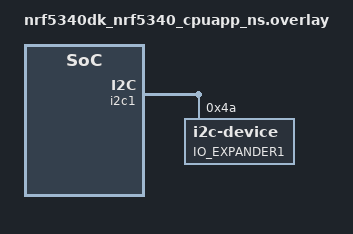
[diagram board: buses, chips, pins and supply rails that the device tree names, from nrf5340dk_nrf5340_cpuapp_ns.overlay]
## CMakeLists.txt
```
# SPDX-License-Identifier: Apache-2.0

cmake_minimum_required(VERSION 3.20.0)

find_package(Zephyr REQUIRED HINTS $ENV{ZEPHYR_BASE})
project(display)

target_sources(app PRIVATE
    src/main.c
    src/lcd1306.c)
```

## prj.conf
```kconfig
CONFIG_GPIO=y

CONFIG_I2C=y




################################################################
#lcd1306 settings
################################################################

CONFIG_HEAP_MEM_POOL_SIZE=16384
CONFIG_DISPLAY=y
################################################################




################################################################
#Logging settings
################################################################

CONFIG_LOG=y
CONFIG_LOG_BACKEND_UART=y

CONFIG_LOG_DEFAULT_LEVEL=3
#LOG_LEVEL_INFO

################################################################
```

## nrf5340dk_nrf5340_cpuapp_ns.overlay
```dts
// To get started, press Ctrl+Space to bring up the completion menu and view the available nodes.

// You can also use the buttons in the sidebar to perform actions on nodes.
// Actions currently available include:

// * Enabling / disabling the node
// * Adding the bus to a bus
// * Removing the node
// * Connecting ADC channels

// For more help, browse the DeviceTree documentation at https://docs.zephyrproject.org/latest/guides/dts/index.html
// You can also visit the nRF DeviceTree extension documentation at https://nrfconnect.github.io/vscode-nrf-connect/devicetree/nrfdevicetree.html


/* Overlay for TWI/IC2 Zephyr NCS implementation with nRFx TWIM Driver */
/* Line references are used in the blog post and twim_node.txt */

&i2c1 {
    io_expander1: io_expander1@4a{
        compatible = "i2c-device";
        reg = < 0x4a >;
        label = "IO_EXPANDER1";
    };
};
```

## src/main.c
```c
/*
 * Copyright (c) 2012-2014 Wind River Systems, Inc.
 *
 * SPDX-License-Identifier: Apache-2.0
 * 
 * 
 * 
 * 
 * https://devzone.nordicsemi.com/guides/nrf-connect-sdk-guides/b/peripherals/posts/twi-ic2-implementation-with-nrfx-twis-driver
 * https://academy.nordicsemi.com/topic/i2c-driver/
 * 
 * 
 */


#include <zephyr/kernel.h>
#include <zephyr/device.h>
#include <zephyr/devicetree.h>
#include <zephyr/drivers/gpio.h>
//#include <zephyr/drivers/i2c.h>
#include <zephyr/sys/printk.h>

#include <zephyr/logging/log.h>
LOG_MODULE_REGISTER(MacroPad);//SHOULD ONLY APPEAR IN ONE FILE       https://developer.nordicsemi.com/nRF_Connect_SDK/doc/latest/zephyr/services/logging/index.html#usage




#include "lcd1306.h"


#define LED0_NODE DT_ALIAS(led0)
const struct gpio_dt_spec led0 = GPIO_DT_SPEC_GET(LED0_NODE, gpios);//LED0 also used on i2c PWM communications use another LED

#define LED1_NODE DT_ALIAS(led1)
const struct gpio_dt_spec led1 = GPIO_DT_SPEC_GET(LED1_NODE, gpios);

#define LED2_NODE DT_ALIAS(led2)
const struct gpio_dt_spec led2 = GPIO_DT_SPEC_GET(LED2_NODE, gpios);

#define BUTTON0_NODE DT_ALIAS(sw0)
const struct gpio_dt_spec button0 = GPIO_DT_SPEC_GET(BUTTON0_NODE, gpios);

static struct gpio_callback button0_cb_data;
k_tid_t main_thread_id;


#define I2C1_NODE DT_NODELABEL(io_expander1)
//static const struct i2c_dt_spec ioExpander1 = I2C_DT_SPEC_GET(I2C1_NODE);
//ret = i2c_write_dt(&ioExpander1, writeData, sizeof(writeData));





bool button0_pressed = false;

void button0_isr(const struct device *dev, struct gpio_callback *cb, uint32_t pins)
{
    button0_pressed = true;
    //k_wakeup(main_thread_id);
}


typedef struct
{
    const struct gpio_dt_spec   *dt;
    gpio_flags_t                flags;
} gpio_config_t;


//added (uint32_t) to hopefully fix the flag issues
static const gpio_config_t allGpio[] = {
    {&led1,             (uint32_t) GPIO_OUTPUT_ACTIVE},
    {&led2,             (uint32_t) GPIO_OUTPUT_ACTIVE},
    {&button0,          (uint32_t) GPIO_INPUT | GPIO_ACTIVE_LOW | GPIO_PULL_UP}
};


typedef struct
{
    const struct i2c_dt_spec *dev;
} i2c_config_t;

/*
static const i2c_config_t allI2C[] = {
    //{&ioExpander1}
};
*/

bool initGpio(){
    for(int idx = 0; idx < sizeof(allGpio) / sizeof(gpio_config_t); idx++){
        if(!device_is_ready(allGpio[idx].dt->port))
        {
            return false;
        }
        int ret = gpio_pin_configure_dt(allGpio[idx].dt, allGpio[idx].flags);
        if (ret < 0)
        {
            return false;
        }
    }
    return true;
}


/*
bool initI2C(){
    for(int idx = 0; idx < sizeof(allI2C) / sizeof(i2c_config_t); idx++){
        if(!device_is_ready(allI2C[idx].dev->bus)){
            printk("I2C not ready\n");
            return false;
        }
    }
    return true;
}
*/



int main(void)
{
    main_thread_id = k_current_get();
	printk("Hello World! %s\n", CONFIG_BOARD);
    
    
    
    if(lcd1306_init() != 0){//lcd1306_init() != 0){
        LOG_ERR("           FAILED TO INITIALIZE 128x32 LCD");
    } else {
        LOG_INF("Initialized LCD Screen");
    }


    while(initGpio() != true)
    {
        k_msleep(50);
    }
    //initI2C();

    gpio_pin_interrupt_configure_dt(&button0, GPIO_INT_EDGE_TO_ACTIVE );
    gpio_init_callback(&button0_cb_data, button0_isr, BIT(button0.pin));
    gpio_add_callback(button0.port, &button0_cb_data);


    uint16_t main_count = 0;

    gpio_pin_set_dt(&led2, 1);

    while (1){//led testing

        main_count++;

        /*if(gpio_pin_get_dt(&button0)){
            gpio_pin_toggle_dt(&led1);            
            k_msleep(50);
        }*/

        
        k_msleep(5);

       



        if(main_count % 50 == 0){
            gpio_pin_toggle_dt(&led2);
        }

        if(button0_pressed){
            main_count = 0;
            clear_screen();
            gpio_pin_set_dt(&led1, 1);
            print_str(0,0,"Button 1",8);
            button0_pressed = false;
        }

        if(main_count >= (4000)/5){
            main_count = 0;
            clear_screen();
            gpio_pin_set_dt(&led1, 0);
        }

    }
   return 1;
}
```

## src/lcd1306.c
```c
/*
 * Copyright (c) 2019 Jan Van Winkel <jan.van_winkel@dxplore.eu>
 *
 * Based on ST7789V sample:
 * Copyright (c) 2019 Marc Reilly
 *
 * SPDX-License-Identifier: Apache-2.0
 */

#include <zephyr/kernel.h>

#ifndef LCD1306
#define LCD1306

#include <zephyr/logging/log.h>

#include <zephyr/device.h>
#include <zephyr/drivers/display.h>

#include "lcd1306.h"

LOG_MODULE_DECLARE(MacroPad);//KEEP THIS HERE, HAVE TO DECLARE LOGGING LEVEL


const uint8_t Arial_Narrow8x8[] = {
	0x00, 0x00, 0x00, 0x00, 0x00, 0x00, 0x00, 0x00,  // Code for char  
	0x00, 0xBF, 0x00, 0x00, 0x00, 0x00, 0x00, 0x00,  // Code for char !
	0x07, 0x00, 0x07, 0x00, 0x00, 0x00, 0x00, 0x00,  // Code for char "
	0xF4, 0x2F, 0xF4, 0x2F, 0x24, 0x00, 0x00, 0x00,  // Code for char #
	0x46, 0x89, 0xFF, 0x89, 0x72, 0x00, 0x00, 0x00,  // Code for char $
	0x06, 0x09, 0xC6, 0x38, 0x66, 0x91, 0x60, 0x00,  // Code for char %
	0x70, 0x96, 0x99, 0x66, 0x70, 0x00, 0x00, 0x00,  // Code for char &
	0x07, 0x00, 0x00, 0x00, 0x00, 0x00, 0x00, 0x00,  // Code for char '
	0x7E, 0x81, 0x00, 0x00, 0x00, 0x00, 0x00, 0x00,  // Code for char (
	0x81, 0x7E, 0x00, 0x00, 0x00, 0x00, 0x00, 0x00,  // Code for char )
	0x0A, 0x07, 0x0A, 0x00, 0x00, 0x00, 0x00, 0x00,  // Code for char *
	0x10, 0x10, 0x7C, 0x10, 0x10, 0x00, 0x00, 0x00,  // Code for char +
	0x00, 0x80, 0x00, 0x00, 0x00, 0x00, 0x00, 0x00,  // Code for char ,
	0x20, 0x20, 0x00, 0x00, 0x00, 0x00, 0x00, 0x00,  // Code for char -
	0x00, 0x80, 0x00, 0x00, 0x00, 0x00, 0x00, 0x00,  // Code for char .
	0xE0, 0x18, 0x07, 0x00, 0x00, 0x00, 0x00, 0x00,  // Code for char /
	0x7E, 0x81, 0x81, 0x7E, 0x00, 0x00, 0x00, 0x00,  // Code for char 0
	0x04, 0x02, 0xFF, 0x00, 0x00, 0x00, 0x00, 0x00,  // Code for char 1
	0xC2, 0xA1, 0x91, 0x8E, 0x00, 0x00, 0x00, 0x00,  // Code for char 2
	0x42, 0x89, 0x89, 0x76, 0x00, 0x00, 0x00, 0x00,  // Code for char 3
	0x30, 0x2C, 0x22, 0xFF, 0x20, 0x00, 0x00, 0x00,  // Code for char 4
	0x4C, 0x8B, 0x89, 0x71, 0x00, 0x00, 0x00, 0x00,  // Code for char 5
	0x7E, 0x91, 0x89, 0x72, 0x00, 0x00, 0x00, 0x00,  // Code for char 6
	0x01, 0xE1, 0x1D, 0x03, 0x00, 0x00, 0x00, 0x00,  // Code for char 7
	0x76, 0x89, 0x89, 0x76, 0x00, 0x00, 0x00, 0x00,  // Code for char 8
	0x4E, 0x91, 0x89, 0x7E, 0x00, 0x00, 0x00, 0x00,  // Code for char 9
	0x00, 0x84, 0x00, 0x00, 0x00, 0x00, 0x00, 0x00,  // Code for char :
	0x80, 0x44, 0x00, 0x00, 0x00, 0x00, 0x00, 0x00,  // Code for char ;
	0x10, 0x28, 0x28, 0x44, 0x00, 0x00, 0x00, 0x00,  // Code for char <
	0x28, 0x28, 0x28, 0x28, 0x00, 0x00, 0x00, 0x00,  // Code for char =
	0x44, 0x28, 0x28, 0x10, 0x00, 0x00, 0x00, 0x00,  // Code for char >
	0x02, 0xB1, 0x09, 0x06, 0x00, 0x00, 0x00, 0x00,  // Code for char ?
	0x42, 0x81, 0x30, 0x4A, 0x4A, 0x7C, 0x81, 0x42,  // Code for char @
	0xC0, 0x3E, 0x21, 0x3E, 0xC0, 0x00, 0x00, 0x00,  // Code for char A
	0xFF, 0x89, 0x89, 0x89, 0x76, 0x00, 0x00, 0x00,  // Code for char B
	0x3C, 0x42, 0x81, 0x81, 0x81, 0x66, 0x00, 0x00,  // Code for char C
	0xFF, 0x81, 0x81, 0x42, 0x3C, 0x00, 0x00, 0x00,  // Code for char D
	0xFF, 0x89, 0x89, 0x89, 0x89, 0x00, 0x00, 0x00,  // Code for char E
	0x00, 0xFF, 0x09, 0x09, 0x01, 0x00, 0x00, 0x00,  // Code for char F
	0x3C, 0x42, 0x81, 0x91, 0x91, 0x76, 0x00, 0x00,  // Code for char G
	0xFF, 0x08, 0x08, 0x08, 0xFF, 0x00, 0x00, 0x00,  // Code for char H
	0xFF, 0x00, 0x00, 0x00, 0x00, 0x00, 0x00, 0x00,  // Code for char I
	0x60, 0x80, 0x80, 0x7F, 0x00, 0x00, 0x00, 0x00,  // Code for char J
	0xFF, 0x08, 0x1C, 0x62, 0x81, 0x00, 0x00, 0x00,  // Code for char K
	0xFF, 0x80, 0x80, 0x80, 0x00, 0x00, 0x00, 0x00,  // Code for char L
	0xFF, 0x06, 0x78, 0x80, 0x78, 0x06, 0xFF, 0x00,  // Code for char M
	0xFF, 0x02, 0x0C, 0x30, 0x40, 0xFF, 0x00, 0x00,  // Code for char N
	0x3C, 0x42, 0x81, 0x81, 0x42, 0x3C, 0x00, 0x00,  // Code for char O
	0xFF, 0x11, 0x11, 0x11, 0x0E, 0x00, 0x00, 0x00,  // Code for char P
	0x3C, 0x42, 0x81, 0xC1, 0x42, 0xBC, 0x00, 0x00,  // Code for char Q
	0x00, 0xFF, 0x09, 0x19, 0x29, 0x46, 0x80, 0x00,  // Code for char R
	0x66, 0x89, 0x89, 0x89, 0x72, 0x00, 0x00, 0x00,  // Code for char S
	0x01, 0x01, 0xFF, 0x01, 0x01, 0x00, 0x00, 0x00,  // Code for char T
	0x3F, 0x40, 0x80, 0x80, 0x40, 0x3F, 0x00, 0x00,  // Code for char U
	0x03, 0x7C, 0x80, 0x7C, 0x03, 0x00, 0x00, 0x00,  // Code for char V
	0x7F, 0x80, 0x7E, 0x01, 0x7E, 0x80, 0x7F, 0x00,  // Code for char W
	0x81, 0x66, 0x18, 0x18, 0x66, 0x81, 0x00, 0x00,  // Code for char X
	0x01, 0x06, 0xF8, 0x06, 0x01, 0x00, 0x00, 0x00,  // Code for char Y
	0xC1, 0xA1, 0x99, 0x85, 0x83, 0x00, 0x00, 0x00,  // Code for char Z
	0xFF, 0x01, 0x00, 0x00, 0x00, 0x00, 0x00, 0x00,  // Code for char [
	0x03, 0x3C, 0xC0, 0x00, 0x00, 0x00, 0x00, 0x00,  // Code for char BackSlash
	0x01, 0xFF, 0x00, 0x00, 0x00, 0x00, 0x00, 0x00,  // Code for char ]
	0x0E, 0x01, 0x0E, 0x00, 0x00, 0x00, 0x00, 0x00,  // Code for char ^
	0x00, 0x00, 0x00, 0x00, 0x00, 0x00, 0x00, 0x00,  // Code for char _
	0x01, 0x02, 0x00, 0x00, 0x00, 0x00, 0x00, 0x00,  // Code for char `
	0x64, 0x94, 0x94, 0xF8, 0x00, 0x00, 0x00, 0x00,  // Code for char a
	0xFF, 0x48, 0x84, 0x78, 0x00, 0x00, 0x00, 0x00,  // Code for char b
	0x78, 0x84, 0x84, 0x48, 0x00, 0x00, 0x00, 0x00,  // Code for char c
	0x78, 0x84, 0x48, 0xFF, 0x00, 0x00, 0x00, 0x00,  // Code for char d
	0x78, 0x94, 0x94, 0x58, 0x00, 0x00, 0x00, 0x00,  // Code for char e
	0xFF, 0x05, 0x00, 0x00, 0x00, 0x00, 0x00, 0x00,  // Code for char f
	0x78, 0x84, 0x48, 0xFC, 0x00, 0x00, 0x00, 0x00,  // Code for char g
	0xFF, 0x08, 0x04, 0xF8, 0x00, 0x00, 0x00, 0x00,  // Code for char h
	0xFD, 0x00, 0x00, 0x00, 0x00, 0x00, 0x00, 0x00,  // Code for char i
	0xFD, 0x00, 0x00, 0x00, 0x00, 0x00, 0x00, 0x00,  // Code for char j
	0xFF, 0x10, 0x28, 0xC4, 0x00, 0x00, 0x00, 0x00,  // Code for char k
	0xFF, 0x00, 0x00, 0x00, 0x00, 0x00, 0x00, 0x00,  // Code for char l
	0xFC, 0x08, 0x04, 0xF8, 0x08, 0x04, 0xFC, 0x00,  // Code for char m
	0xFC, 0x08, 0x04, 0xF8, 0x00, 0x00, 0x00, 0x00,  // Code for char n
	0x78, 0x84, 0x84, 0x78, 0x00, 0x00, 0x00, 0x00,  // Code for char o
	0xFC, 0x48, 0x84, 0x78, 0x00, 0x00, 0x00, 0x00,  // Code for char p
	0x78, 0x84, 0x48, 0xFC, 0x00, 0x00, 0x00, 0x00,  // Code for char q
	0xFC, 0x08, 0x04, 0x00, 0x00, 0x00, 0x00, 0x00,  // Code for char r
	0x4C, 0x94, 0xA4, 0x48, 0x00, 0x00, 0x00, 0x00,  // Code for char s
	0xFF, 0x84, 0x00, 0x00, 0x00, 0x00, 0x00, 0x00,  // Code for char t
	0x7C, 0x80, 0x40, 0xFC, 0x00, 0x00, 0x00, 0x00,  // Code for char u
	0x0C, 0x70, 0x80, 0x70, 0x0C, 0x00, 0x00, 0x00,  // Code for char v
	0x7C, 0x80, 0x78, 0x04, 0x78, 0x80, 0x7C, 0x00,  // Code for char w
	0x84, 0x48, 0x30, 0x48, 0x84, 0x00, 0x00, 0x00,  // Code for char x
	0x04, 0x38, 0xC0, 0x38, 0x04, 0x00, 0x00, 0x00,  // Code for char y
	0xC4, 0xA4, 0x94, 0x8C, 0x00, 0x00, 0x00, 0x00,  // Code for char z
	0x18, 0xE7, 0x81, 0x00, 0x00, 0x00, 0x00, 0x00,  // Code for char {
	0xFF, 0x00, 0x00, 0x00, 0x00, 0x00, 0x00, 0x00,  // Code for char |
	0x81, 0xE7, 0x18, 0x00, 0x00, 0x00, 0x00, 0x00,  // Code for char }
	0x00, 0x10, 0x08, 0x18, 0x10, 0x08, 0x00, 0x00,  // Code for char ~
	0xFF, 0x81, 0xFF, 0x00, 0x00, 0x00, 0x00, 0x00   // Code for char 
};


#define char_w 8
#define char_h 8

const struct device *display_dev;


uint8_t *buf_empty;
struct display_buffer_descriptor empty_buf;
uint16_t empty_buf_size = 128*4*(sizeof(uint8_t));

uint8_t *all_char_buf;	
struct display_buffer_descriptor font_desc;



int clear_screen(){
	return display_write(display_dev,0,0,&empty_buf,buf_empty);
}


int print_char( const uint8_t col, const uint8_t row, const uint8_t c){
	return display_write(display_dev, col, row, &font_desc, &Arial_Narrow8x8[(c-32)*8]);
}

int print_str(const uint8_t col, const uint8_t row, const char *str, const uint8_t length){
	int r;
    for (int i = 0; i < length; i++){
		 r = print_char(col * char_w + i*char_w, row, str[i]);
        if(r != 0){
            //LOG_ERR("               FAILED TO WRITE CHAR %c", str[i]);
            return r;
        } else if(r == length - 1){
            return r;
        }
    }
    return r;
}






uint8_t lcd1306_init(){
    struct display_capabilities capabilities;

    
	display_dev = DEVICE_DT_GET(DT_CHOSEN(zephyr_display));
	if (!device_is_ready(display_dev)) {
		//LOG_ERR("Device %s not found. Aborting sample.", display_dev->name);
	}

    //LOG_INF("Display sample for %s", display_dev->name);
	display_get_capabilities(display_dev, &capabilities);



    empty_buf.buf_size = empty_buf_size;
	empty_buf.pitch = 128;//capabilities.x_resolution;
	empty_buf.width = 128;
	empty_buf.height = 32;


    font_desc.buf_size = char_w*char_h*sizeof(uint8_t);
	font_desc.pitch = char_w;//capabilities.x_resolution;
	font_desc.width = char_w;
	font_desc.height = char_h;


    
    buf_empty = k_malloc(128*4*sizeof(uint8_t));

    memset(buf_empty, 0, 128*4);

    int r = display_write(display_dev,0,0,&empty_buf,buf_empty);
    //LOG_INF("Display cleared");

    print_str(0, 0, "Hello World! ", 12);
    LOG_INF("Hello world written");


    return r;
}



#ifdef NEVER
int main(void)
{

	all_char_buf = k_malloc((127-32)*char_w*char_h*sizeof(uint8_t));

	size_t buf_size;
	struct display_buffer_descriptor empty_buf;
	struct display_capabilities capabilities;

	const struct device *display_dev;
	display_dev = DEVICE_DT_GET(DT_CHOSEN(zephyr_display));
	if (!device_is_ready(display_dev)) {
		LOG_ERR("Device %s not found. Aborting sample.", display_dev->name);
	}

	LOG_INF("Display sample for %s", display_dev->name);
	display_get_capabilities(display_dev, &capabilities);


	buf_size = 128*32*sizeof(uint8_t);

	empty_buf.buf_size = buf_size;
	empty_buf.pitch = 128;//capabilities.x_resolution;
	empty_buf.width = 128;
	empty_buf.height = 32;


	

	uint8_t *buf_empty;

	buf_empty = k_malloc(128*4*sizeof(uint8_t));
	

	memset(buf_empty, 0, 128*4);//128*32*sizeof(uint8_t));

/*
	const unsigned short yippe[] = {0x00, 0x00, 0x5F, 0x00, 0x5F, 0x00, 0x00, 0x00};
	for(int i = 0; i < 32; i++){
		for (int j = 0; j < 128; j++){
			buf_all[i*128+j] = 0x0u;//0xFFu;//(j % 2) * 0xFFu;
			if((i < 8) && (j < 8)){
				buf_all[i*128 + j] = ((yippe[j] & (1 << i)) >> i) * 0xFFu;
				k_msleep(5);
				//LOG_INF("i: %d j: %d val:%d",i, j, buf_all[i*128 + j]);
			}
		}
	}
*/
	
	font_desc.buf_size = char_w*char_h*sizeof(uint8_t);
	font_desc.pitch = char_w;//capabilities.x_resolution;
	font_desc.width = char_w;
	font_desc.height = char_h;



	display_write(display_dev,0,0,&empty_buf,buf_empty);

	int x = 0;
	int y = 0;

	bool lastWritten = 1;
	while (1) {
		//memset(buf, grey_count, buf_size);
		//display_write(display_dev, x, y, &empty_buf, lastWritten? buf : buf2);
		//display_write(display_dev, 0, 0, &empty_buf, buf_all);
		
		//print_char(display_dev, x, y, 'O');
		print_str(display_dev, x, y, "Hello World! ", 12);
		y = (y+16)%32;

		k_msleep(50);
	}
	return 0;
}
#endif



#endif
```

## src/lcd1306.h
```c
#ifndef LCD1306_H
#define LCD1306_H
#endif

int clear_screen();
int print_char( const uint8_t col, const uint8_t row, const uint8_t c);
int print_str(const uint8_t col, const uint8_t row, const char *str, const uint8_t length);
uint8_t lcd1306_init();
```
